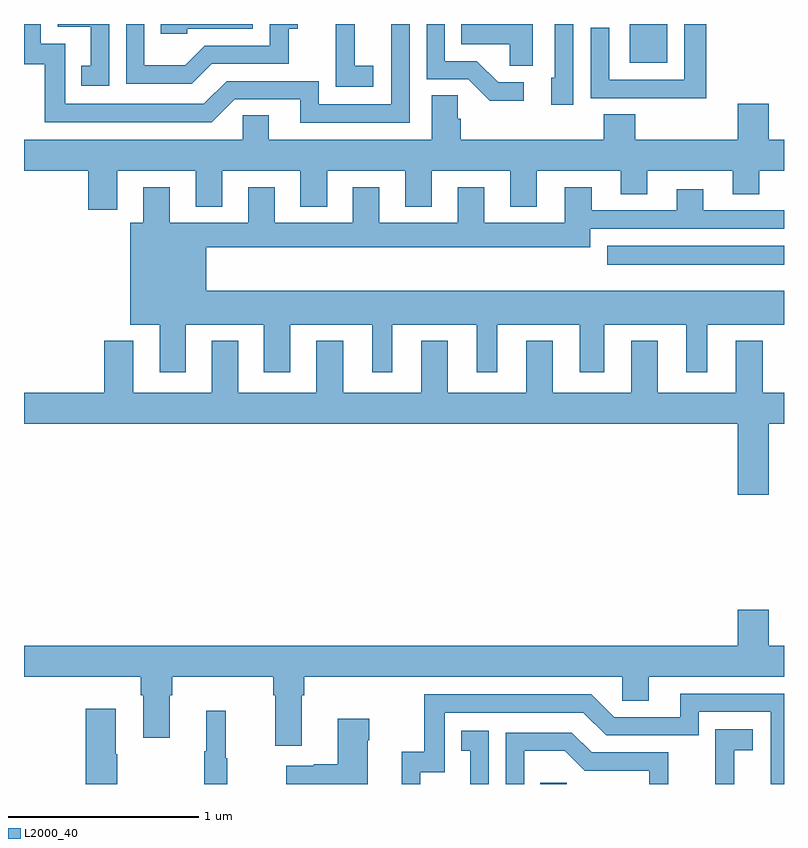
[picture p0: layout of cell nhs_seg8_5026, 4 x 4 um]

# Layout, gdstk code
import gdstk
lib = gdstk.Library(unit=1e-6, precision=1e-09)
def R(c, l, rs):  # rectangles x0, y0, x1, y1
    for r in rs: c.add(gdstk.rectangle(r[:2], r[2:], *l))
def P(c, l, *ps):  # polygons
    for p in ps: c.add(gdstk.Polygon(p, *l))
L2000_40 = (2000, 40)

nhs_seg8_5026 = lib.new_cell('nhs_seg8_5026')
R(nhs_seg8_5026, L2000_40, [(415.717,1151.9,415.857,1151.907), (416.07,1154.633,417,1154.734)])
P(nhs_seg8_5026, L2000_40, [(415.63,1155.594),(415.495,1155.594),(415.384,1155.705),(415.215,1155.705),(415.215,1155.9),(415.119,1155.9),(415.119,1155.609),(415.338,1155.609),(415.451,1155.497),(415.63,1155.497)],
  [(416.591,1155.9),(416.475,1155.9),(416.475,1155.606),(416.079,1155.606),(416.079,1155.88),(415.983,1155.88),(415.983,1155.51),(416.299,1155.51),(416.299,1155.509),(416.591,1155.509)],
  [(413.448,1155.9),(413.178,1155.9),(413.178,1155.885),(413.351,1155.885),(413.351,1155.681),(413.302,1155.681),(413.302,1155.576),(413.448,1155.576)],
  [(415.029,1155.9),(414.933,1155.9),(414.933,1155.477),(414.552,1155.477),(414.552,1155.6),(414.066,1155.6),(413.946,1155.48),(413.217,1155.48),(413.217,1155.795),(413.088,1155.795),(413.088,1155.9),(413,1155.9),(413,1155.687),(413.109,1155.687),(413.109,1155.384),(413.988,1155.384),(414.108,1155.504),(414.455,1155.504),(414.455,1155.381),(415.029,1155.381)],
  [(415.89,1155.9),(415.794,1155.9),(415.794,1155.618),(415.775,1155.618),(415.775,1155.474),(415.89,1155.474)],
  [(413.859,1155.876),(414.204,1155.876),(414.204,1155.9),(413.719,1155.9),(413.719,1155.849),(413.859,1155.849)],
  [(414.838,1155.679),(414.74,1155.679),(414.74,1155.9),(414.641,1155.9),(414.641,1155.775),(414.64,1155.775),(414.64,1155.569),(414.838,1155.569)],
  [(416.386,1155.898),(416.347,1155.898),(416.347,1155.9),(416.189,1155.9),(416.189,1155.695),(416.386,1155.695)],
  [(413.989,1155.69),(414.393,1155.69),(414.393,1155.875),(414.442,1155.875),(414.442,1155.9),(414.294,1155.9),(414.294,1155.786),(413.952,1155.786),(413.848,1155.682),(413.634,1155.682),(413.634,1155.9),(413.538,1155.9),(413.538,1155.585),(413.884,1155.585)],
  [(415.678,1155.898),(415.3,1155.898),(415.3,1155.794),(415.557,1155.794),(415.557,1155.679),(415.678,1155.679)],
  [(413.491,1155.128),(413.903,1155.128),(413.903,1154.939),(414.043,1154.939),(414.043,1155.128),(414.455,1155.128),(414.455,1154.939),(414.595,1154.939),(414.595,1155.128),(415.007,1155.128),(415.007,1154.939),(415.147,1154.939),(415.147,1155.128),(415.559,1155.128),(415.559,1154.939),(415.699,1154.939),(415.699,1155.128),(416.141,1155.128),(416.141,1155.004),(416.281,1155.004),(416.281,1155.128),(416.729,1155.128),(416.729,1155.004),(416.869,1155.004),(416.869,1155.128),(417,1155.128),(417,1155.292),(416.92,1155.292),(416.92,1155.481),(416.756,1155.481),(416.756,1155.292),(416.216,1155.292),(416.216,1155.425),(416.051,1155.425),(416.051,1155.292),(415.298,1155.292),(415.298,1155.401),(415.284,1155.401),(415.284,1155.524),(415.145,1155.524),(415.145,1155.292),(414.289,1155.292),(414.289,1155.419),(414.15,1155.419),(414.15,1155.292),(413,1155.292),(413,1155.128),(413.339,1155.128),(413.339,1154.922),(413.491,1154.922)],
  [(413.851,1154.318),(414.263,1154.318),(414.263,1154.067),(414.4,1154.067),(414.4,1154.318),(414.833,1154.318),(414.833,1154.067),(414.937,1154.067),(414.937,1154.318),(415.382,1154.318),(415.382,1154.067),(415.492,1154.067),(415.492,1154.318),(415.925,1154.318),(415.925,1154.067),(416.053,1154.067),(416.053,1154.318),(416.486,1154.318),(416.486,1154.067),(416.596,1154.067),(416.596,1154.318),(417,1154.318),(417,1154.497),(413.959,1154.497),(413.959,1154.726),(415.981,1154.726),(415.981,1154.823),(417,1154.823),(417,1154.919),(416.575,1154.919),(416.575,1155.031),(416.435,1155.031),(416.435,1154.919),(415.987,1154.919),(415.987,1155.04),(415.847,1155.04),(415.847,1154.854),(415.423,1154.854),(415.423,1155.04),(415.283,1155.04),(415.283,1154.854),(414.871,1154.854),(414.871,1155.04),(414.731,1155.04),(414.731,1154.854),(414.319,1154.854),(414.319,1155.04),(414.179,1155.04),(414.179,1154.854),(413.767,1154.854),(413.767,1155.04),(413.627,1155.04),(413.627,1154.854),(413.558,1154.854),(413.558,1154.318),(413.714,1154.318),(413.714,1154.067),(413.851,1154.067)],
  [(416.92,1153.796),(417,1153.796),(417,1153.96),(416.887,1153.96),(416.887,1154.233),(416.747,1154.233),(416.747,1153.96),(416.335,1153.96),(416.335,1154.233),(416.195,1154.233),(416.195,1153.96),(415.783,1153.96),(415.783,1154.233),(415.643,1154.233),(415.643,1153.96),(415.231,1153.96),(415.231,1154.233),(415.091,1154.233),(415.091,1153.96),(414.679,1153.96),(414.679,1154.233),(414.539,1154.233),(414.539,1153.96),(414.127,1153.96),(414.127,1154.233),(413.987,1154.233),(413.987,1153.96),(413.575,1153.96),(413.575,1154.233),(413.423,1154.233),(413.423,1153.96),(413,1153.96),(413,1153.796),(416.756,1153.796),(416.756,1153.422),(416.92,1153.422)],
  [(414.463,1152.368),(414.476,1152.368),(414.476,1152.464),(416.148,1152.464),(416.148,1152.337),(416.287,1152.337),(416.287,1152.464),(417,1152.464),(417,1152.628),(416.92,1152.628),(416.92,1152.817),(416.756,1152.817),(416.756,1152.628),(413,1152.628),(413,1152.464),(413.615,1152.464),(413.615,1152.368),(413.627,1152.368),(413.627,1152.144),(413.767,1152.144),(413.767,1152.368),(413.78,1152.368),(413.78,1152.464),(414.311,1152.464),(414.311,1152.368),(414.323,1152.368),(414.323,1152.102),(414.463,1152.102)],
  [(415.086,1151.961),(415.215,1151.961),(415.215,1152.276),(415.944,1152.276),(416.064,1152.156),(416.55,1152.156),(416.55,1152.279),(416.931,1152.279),(416.931,1151.9),(417,1151.9),(417,1152.375),(416.453,1152.375),(416.453,1152.252),(416.106,1152.252),(415.986,1152.372),(415.107,1152.372),(415.107,1152.07),(414.989,1152.07),(414.989,1151.9),(415.086,1151.9)],
  [(413.49,1152.056),(413.482,1152.056),(413.482,1152.295),(413.324,1152.295),(413.324,1151.9),(413.49,1151.9)],
  [(414.07,1152.036),(414.062,1152.036),(414.062,1152.286),(413.96,1152.286),(413.96,1152.073),(413.949,1152.073),(413.949,1151.9),(414.07,1151.9)],
  [(414.808,1152.131),(414.816,1152.131),(414.816,1152.244),(414.65,1152.244),(414.65,1152.005),(414.524,1152.005),(414.524,1151.995),(414.381,1151.995),(414.381,1151.9),(414.808,1151.9)],
  [(416.738,1152.077),(416.836,1152.077),(416.836,1152.187),(416.638,1152.187),(416.638,1151.981),(416.639,1151.981),(416.639,1151.9),(416.738,1151.9)],
  [(415.446,1152.181),(415.3,1152.181),(415.3,1152.075),(415.349,1152.075),(415.349,1151.9),(415.446,1151.9)],
  [(415.632,1152.074),(415.846,1152.074),(415.95,1151.97),(416.292,1151.97),(416.292,1151.9),(416.391,1151.9),(416.391,1152.066),(415.987,1152.066),(415.882,1152.171),(415.536,1152.171),(415.536,1151.9),(415.632,1151.9)])

lib.write_gds('nhs_seg8_5026.gds')
